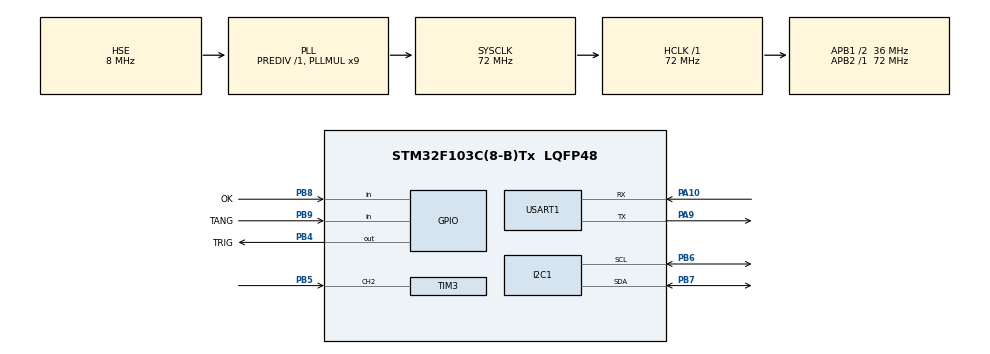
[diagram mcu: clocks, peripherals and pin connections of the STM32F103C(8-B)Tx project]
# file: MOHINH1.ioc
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Mcu.Family=STM32F1
Mcu.Name=STM32F103C(8-B)Tx
Mcu.Package=LQFP48
NVIC.PriorityGroup=NVIC_PRIORITYGROUP_4
NVIC.TIM2_IRQn=true\:0\:0\:false\:false\:true\:true\:true\:true
NVIC.TIM3_IRQn=true\:0\:0\:false\:false\:true\:true\:true\:true
NVIC.USART1_IRQn=true\:0\:0\:false\:false\:true\:true\:true\:true
PA10.Mode=Asynchronous
PA10.Signal=USART1_RX
PA13.Mode=Serial_Wire
PA13.Signal=SYS_JTMS-SWDIO
PA14.Mode=Serial_Wire
PA14.Signal=SYS_JTCK-SWCLK
PA9.Mode=Asynchronous
PA9.Signal=USART1_TX
PB4.GPIO_Label=TRIG
PB4.Signal=GPIO_Output
PB5.Signal=S_TIM3_CH2
PB6.Mode=I2C
PB6.Signal=I2C1_SCL
PB7.Mode=I2C
PB7.Signal=I2C1_SDA
PB8.GPIO_Label=OK
PB8.Signal=GPIO_Input
PB9.GPIO_Label=TANG
PB9.Signal=GPIO_Input
PD0-OSC_IN.Mode=HSE-External-Oscillator
PD0-OSC_IN.Signal=RCC_OSC_IN
PD1-OSC_OUT.Mode=HSE-External-Oscillator
PD1-OSC_OUT.Signal=RCC_OSC_OUT
ProjectManager.HeapSize=0x200
ProjectManager.StackSize=0x400
ProjectManager.TargetToolchain=MDK-ARM V5.32
RCC.AHBFreq_Value=72000000
RCC.APB1CLKDivider=RCC_HCLK_DIV2
RCC.APB1Freq_Value=36000000
RCC.APB1TimFreq_Value=72000000
RCC.APB2Freq_Value=72000000
RCC.APB2TimFreq_Value=72000000
RCC.HCLKFreq_Value=72000000
RCC.PLLMUL=RCC_PLL_MUL9
RCC.PLLSourceVirtual=RCC_PLLSOURCE_HSE
RCC.SYSCLKFreq_VALUE=72000000
RCC.SYSCLKSource=RCC_SYSCLKSOURCE_PLLCLK
RCC.USBFreq_Value=72000000
SH.S_TIM3_CH2.0=TIM3_CH2,Input_Capture2_from_TI2
TIM1.Prescaler=71
TIM2.Period=9
TIM2.Prescaler=7199
TIM3.Channel-Input_Capture2_from_TI2=TIM_CHANNEL_2
TIM3.Prescaler=71
TIM4.Prescaler=71
USART1.VirtualMode=VM_ASYNC
VP_TIM1_VS_ClockSourceINT.Mode=Internal
VP_TIM2_VS_ClockSourceINT.Mode=Internal
VP_TIM3_VS_ClockSourceINT.Mode=Internal
VP_TIM4_VS_ClockSourceINT.Mode=Internal
board=custom

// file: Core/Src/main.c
/* USER CODE BEGIN Header */
/**
  ******************************************************************************
  * @file           : main.c
  * @brief          : Main program body
  ******************************************************************************
  * @attention
  *
  * Copyright (c) 2025 STMicroelectronics.
  * All rights reserved.
  *
  * This software is licensed under terms that can be found in the LICENSE file
  * in the root directory of this software component.
  * If no LICENSE file comes with this software, it is provided AS-IS.
  *
  ******************************************************************************
  */
/* USER CODE END Header */
#include "main.h"

/* USER CODE BEGIN Includes */
#include "CLCD_I2C.h"
#include "stdio.h"
#include "string.h"
#include <stdlib.h>
#include <DS3231.h>
#include "ser_timer.h"
/* USER CODE END Includes */

I2C_HandleTypeDef hi2c1;

TIM_HandleTypeDef htim1;
TIM_HandleTypeDef htim2;
TIM_HandleTypeDef htim3;
TIM_HandleTypeDef htim4;

UART_HandleTypeDef huart1;

/* USER CODE BEGIN PV */
int pulse_duration =0;
int KCDO = 0;
CLCD_I2C_Name LCD1;
char text1[30];
char text2[30];
char text3[30];
char text4[30];
uint32_t ic_val1 = 0;
uint32_t ic_val2 = 0;
uint32_t difference = 0;
uint8_t is_captured = 0;
uint8_t distance = 0;
uint8_t IndexBuff = 0;
char IndexData[50];
unsigned short Flag = 0;
uint16_t timesend = 100;
DS3231_Name DS3231;
uint8_t mode = 0;
uint16_t demtimegui=0;
/* USER CODE END PV */

void SystemClock_Config(void);
static void MX_GPIO_Init(void);
static void MX_I2C1_Init(void);
static void MX_USART1_UART_Init(void);
static void MX_TIM1_Init(void);
static void MX_TIM4_Init(void);
static void MX_TIM3_Init(void);
static void MX_TIM2_Init(void);

/* USER CODE BEGIN 0 */
void Delay_us(uint16_t time)
{
    __HAL_TIM_SET_COUNTER(&htim1, 0);
    while (__HAL_TIM_GET_COUNTER(&htim1) < time) {}
}
void HAL_UART_RxCpltCallback(UART_HandleTypeDef *huart)
{
	if(huart -> Instance == USART1)
	{
		if(IndexData[IndexBuff] != 'K') /*/!,,,, 0x0A = \n*/
		{
			IndexBuff++;
		}
		else
		{
			Flag = 1;
			IndexBuff = 0;
		}
		HAL_UART_Receive_IT(&huart1, (uint8_t*)&IndexData[IndexBuff], 1);
	}
}

void senTRIG()
{
	HAL_GPIO_WritePin(TRIG_GPIO_Port,TRIG_Pin,GPIO_PIN_SET);
	Delay_us(1);
	HAL_GPIO_WritePin(TRIG_GPIO_Port,TRIG_Pin,GPIO_PIN_RESET);
}

void HAL_TIM_IC_CaptureCallback(TIM_HandleTypeDef *htim) {
    if (htim->Instance == htim3.Instance) {
        if (is_captured == 0) {
            ic_val1 = HAL_TIM_ReadCapturedValue(htim, TIM_CHANNEL_2);
            __HAL_TIM_SET_CAPTUREPOLARITY(htim, TIM_CHANNEL_2, TIM_INPUTCHANNELPOLARITY_FALLING);
            is_captured = 1;
        } else if (is_captured == 1) {
            ic_val2 = HAL_TIM_ReadCapturedValue(htim, TIM_CHANNEL_2);
            __HAL_TIM_SET_CAPTUREPOLARITY(htim, TIM_CHANNEL_2, TIM_INPUTCHANNELPOLARITY_RISING);
            is_captured = 0;
            if (ic_val2 > ic_val1) {
                difference = ic_val2 - ic_val1;
            } else {
                difference = (0xFFFF - ic_val1) + ic_val2;
            }
        }
		HAL_TIM_IC_Start_IT(&htim3, TIM_CHANNEL_2);
    }
}

uint8_t Read_HCR05()
{
	senTRIG();
	return distance = (difference * 0.0343) / 2;
}

void TINHTOAN(uint8_t Flag)
{
    if(Flag)
    {
        if(IndexData[0] == 'T')
        {
            timesend = atoi(IndexData + 1);
        }
        Flag = 0;
    }
}
void Xlnutan(PVOID pData) //ps2
{
	if(HAL_GPIO_ReadPin(OK_GPIO_Port,OK_Pin) == 1)
	{
		mode = 0;
		CLCD_I2C_Clear(&LCD1);
	}
	else if(HAL_GPIO_ReadPin(TANG_GPIO_Port,TANG_Pin) == 1)
	{
		mode = 1;
		CLCD_I2C_Clear(&LCD1);
	}
	StartShortTimer(100, Xlnutan, NULL);
}

void Xldulieu(PVOID pData) //ps2
{
	TINHTOAN(Flag);
	sprintf(text1,"Kc do:%d  ",KCDO);
	sprintf(text2,"khoang cach:%d\r\n",KCDO);
	sprintf(text3,"TIME:%d:%d:%d  ",DS3231.Hour,DS3231.Min,DS3231.Sec);
	StartShortTimer(100, Xldulieu, NULL);
}
void Docsieuam(PVOID pData)
{
	KCDO = Read_HCR05();
	StartShortTimer(100, Docsieuam, NULL);
}

void Docthoigian(PVOID pData)
{
	DS3231_GetTime(&DS3231);
	StartShortTimer(100, Docthoigian, NULL);
}

void Guimaytinh(PVOID pData)
{
	demtimegui++;
	if(demtimegui > timesend)
	{
		demtimegui = 0;
		HAL_UART_Transmit_IT(&huart1,(uint8_t*)text2,strlen(text2));
	}
	StartShortTimer(1, Guimaytinh, NULL);
}

void Hienthilcd(PVOID pData)
{
	if(mode == 0)
	{
		CLCD_I2C_SetCursor(&LCD1, 0, 0);
		CLCD_I2C_WriteString(&LCD1,"CHE DO 1");
		CLCD_I2C_SetCursor(&LCD1, 0, 1);
		CLCD_I2C_WriteString(&LCD1,text1);
	}
	else if(mode == 1)
	{
		CLCD_I2C_SetCursor(&LCD1, 0, 0);
		CLCD_I2C_WriteString(&LCD1,"CHE DO 2");
		CLCD_I2C_SetCursor(&LCD1, 0, 1);
		CLCD_I2C_WriteString(&LCD1,text3);
	}
	StartShortTimer(100, Hienthilcd, NULL);
}
/* USER CODE END 0 */

int main(void)
{

  /* MCU Configuration--------------------------------------------------------*/

  /* Reset of all peripherals, Initializes the Flash interface and the Systick. */
  HAL_Init();

  /* Configure the system clock */
  SystemClock_Config();

  /* Initialize all configured peripherals */
  MX_GPIO_Init();
  MX_I2C1_Init();
  MX_USART1_UART_Init();
  MX_TIM1_Init();
  MX_TIM4_Init();
  MX_TIM3_Init();
  MX_TIM2_Init();
  /* USER CODE BEGIN 2 */
	HAL_UART_Receive_IT(&huart1, (uint8_t*)&IndexData[IndexBuff], 1);
	HAL_TIM_IC_Start_IT(&htim3, TIM_CHANNEL_2);
	HAL_TIM_Base_Start(&htim1);
	HAL_TIM_Base_Start_IT(&htim2);
	CLCD_I2C_Init(&LCD1,&hi2c1,0x4e,16,02,&htim4);
	DS3231_Init(&DS3231, &hi2c1);
	Hienthilcd(NULL);
	Guimaytinh(NULL);
	Docthoigian(NULL);
	Docsieuam(NULL);
	Xldulieu(NULL);
	Xlnutan(NULL);
  /* USER CODE END 2 */

  /* Infinite loop */
  while (1)
  {

    /* USER CODE BEGIN 3 */
		ProcessTimerEvents();
  }
  /* USER CODE END 3 */
}

void SystemClock_Config(void)
{
  RCC_OscInitTypeDef RCC_OscInitStruct = {0};
  RCC_ClkInitTypeDef RCC_ClkInitStruct = {0};

  /** Initializes the RCC Oscillators according to the specified parameters
  * in the RCC_OscInitTypeDef structure.
  */
  RCC_OscInitStruct.OscillatorType = RCC_OSCILLATORTYPE_HSE;
  RCC_OscInitStruct.HSEState = RCC_HSE_ON;
  RCC_OscInitStruct.HSEPredivValue = RCC_HSE_PREDIV_DIV1;
  RCC_OscInitStruct.HSIState = RCC_HSI_ON;
  RCC_OscInitStruct.PLL.PLLState = RCC_PLL_ON;
  RCC_OscInitStruct.PLL.PLLSource = RCC_PLLSOURCE_HSE;
  RCC_OscInitStruct.PLL.PLLMUL = RCC_PLL_MUL9;
  if (HAL_RCC_OscConfig(&RCC_OscInitStruct) != HAL_OK)
  {
    Error_Handler();
  }

  /** Initializes the CPU, AHB and APB buses clocks
  */
  RCC_ClkInitStruct.ClockType = RCC_CLOCKTYPE_HCLK|RCC_CLOCKTYPE_SYSCLK
                              |RCC_CLOCKTYPE_PCLK1|RCC_CLOCKTYPE_PCLK2;
  RCC_ClkInitStruct.SYSCLKSource = RCC_SYSCLKSOURCE_PLLCLK;
  RCC_ClkInitStruct.AHBCLKDivider = RCC_SYSCLK_DIV1;
  RCC_ClkInitStruct.APB1CLKDivider = RCC_HCLK_DIV2;
  RCC_ClkInitStruct.APB2CLKDivider = RCC_HCLK_DIV1;

  if (HAL_RCC_ClockConfig(&RCC_ClkInitStruct, FLASH_LATENCY_2) != HAL_OK)
  {
    Error_Handler();
  }
}

static void MX_I2C1_Init(void)
{

  hi2c1.Instance = I2C1;
  hi2c1.Init.ClockSpeed = 100000;
  hi2c1.Init.DutyCycle = I2C_DUTYCYCLE_2;
  hi2c1.Init.OwnAddress1 = 0;
  hi2c1.Init.AddressingMode = I2C_ADDRESSINGMODE_7BIT;
  hi2c1.Init.DualAddressMode = I2C_DUALADDRESS_DISABLE;
  hi2c1.Init.OwnAddress2 = 0;
  hi2c1.Init.GeneralCallMode = I2C_GENERALCALL_DISABLE;
  hi2c1.Init.NoStretchMode = I2C_NOSTRETCH_DISABLE;
  if (HAL_I2C_Init(&hi2c1) != HAL_OK)
  {
    Error_Handler();
  }

}

static void MX_TIM1_Init(void)
{

  TIM_ClockConfigTypeDef sClockSourceConfig = {0};
  TIM_MasterConfigTypeDef sMasterConfig = {0};

  htim1.Instance = TIM1;
  htim1.Init.Prescaler = 71;
  htim1.Init.CounterMode = TIM_COUNTERMODE_UP;
  htim1.Init.Period = 65535;
  htim1.Init.ClockDivision = TIM_CLOCKDIVISION_DIV1;
  htim1.Init.RepetitionCounter = 0;
  htim1.Init.AutoReloadPreload = TIM_AUTORELOAD_PRELOAD_DISABLE;
  if (HAL_TIM_Base_Init(&htim1) != HAL_OK)
  {
    Error_Handler();
  }
  sClockSourceConfig.ClockSource = TIM_CLOCKSOURCE_INTERNAL;
  if (HAL_TIM_ConfigClockSource(&htim1, &sClockSourceConfig) != HAL_OK)
  {
    Error_Handler();
  }
  sMasterConfig.MasterOutputTrigger = TIM_TRGO_RESET;
  sMasterConfig.MasterSlaveMode = TIM_MASTERSLAVEMODE_DISABLE;
  if (HAL_TIMEx_MasterConfigSynchronization(&htim1, &sMasterConfig) != HAL_OK)
  {
    Error_Handler();
  }

}

static void MX_TIM2_Init(void)
{

  TIM_ClockConfigTypeDef sClockSourceConfig = {0};
  TIM_MasterConfigTypeDef sMasterConfig = {0};

  htim2.Instance = TIM2;
  htim2.Init.Prescaler = 7199;
  htim2.Init.CounterMode = TIM_COUNTERMODE_UP;
  htim2.Init.Period = 9;
  htim2.Init.ClockDivision = TIM_CLOCKDIVISION_DIV1;
  htim2.Init.AutoReloadPreload = TIM_AUTORELOAD_PRELOAD_DISABLE;
  if (HAL_TIM_Base_Init(&htim2) != HAL_OK)
  {
    Error_Handler();
  }
  sClockSourceConfig.ClockSource = TIM_CLOCKSOURCE_INTERNAL;
  if (HAL_TIM_ConfigClockSource(&htim2, &sClockSourceConfig) != HAL_OK)
  {
    Error_Handler();
  }
  sMasterConfig.MasterOutputTrigger = TIM_TRGO_RESET;
  sMasterConfig.MasterSlaveMode = TIM_MASTERSLAVEMODE_DISABLE;
  if (HAL_TIMEx_MasterConfigSynchronization(&htim2, &sMasterConfig) != HAL_OK)
  {
    Error_Handler();
  }

}

static void MX_TIM3_Init(void)
{

  TIM_ClockConfigTypeDef sClockSourceConfig = {0};
  TIM_MasterConfigTypeDef sMasterConfig = {0};
  TIM_IC_InitTypeDef sConfigIC = {0};

  htim3.Instance = TIM3;
  htim3.Init.Prescaler = 71;
  htim3.Init.CounterMode = TIM_COUNTERMODE_UP;
  htim3.Init.Period = 65535;
  htim3.Init.ClockDivision = TIM_CLOCKDIVISION_DIV1;
  htim3.Init.AutoReloadPreload = TIM_AUTORELOAD_PRELOAD_DISABLE;
  if (HAL_TIM_Base_Init(&htim3) != HAL_OK)
  {
    Error_Handler();
  }
  sClockSourceConfig.ClockSource = TIM_CLOCKSOURCE_INTERNAL;
  if (HAL_TIM_ConfigClockSource(&htim3, &sClockSourceConfig) != HAL_OK)
  {
    Error_Handler();
  }
  if (HAL_TIM_IC_Init(&htim3) != HAL_OK)
  {
    Error_Handler();
  }
  sMasterConfig.MasterOutputTrigger = TIM_TRGO_RESET;
  sMasterConfig.MasterSlaveMode = TIM_MASTERSLAVEMODE_DISABLE;
  if (HAL_TIMEx_MasterConfigSynchronization(&htim3, &sMasterConfig) != HAL_OK)
  {
    Error_Handler();
  }
  sConfigIC.ICPolarity = TIM_INPUTCHANNELPOLARITY_RISING;
  sConfigIC.ICSelection = TIM_ICSELECTION_DIRECTTI;
  sConfigIC.ICPrescaler = TIM_ICPSC_DIV1;
  sConfigIC.ICFilter = 0;
  if (HAL_TIM_IC_ConfigChannel(&htim3, &sConfigIC, TIM_CHANNEL_2) != HAL_OK)
  {
    Error_Handler();
  }

}

static void MX_TIM4_Init(void)
{

  TIM_ClockConfigTypeDef sClockSourceConfig = {0};
  TIM_MasterConfigTypeDef sMasterConfig = {0};

  htim4.Instance = TIM4;
  htim4.Init.Prescaler = 71;
  htim4.Init.CounterMode = TIM_COUNTERMODE_UP;
  htim4.Init.Period = 65535;
  htim4.Init.ClockDivision = TIM_CLOCKDIVISION_DIV1;
  htim4.Init.AutoReloadPreload = TIM_AUTORELOAD_PRELOAD_DISABLE;
  if (HAL_TIM_Base_Init(&htim4) != HAL_OK)
  {
    Error_Handler();
  }
  sClockSourceConfig.ClockSource = TIM_CLOCKSOURCE_INTERNAL;
  if (HAL_TIM_ConfigClockSource(&htim4, &sClockSourceConfig) != HAL_OK)
  {
    Error_Handler();
  }
  sMasterConfig.MasterOutputTrigger = TIM_TRGO_RESET;
  sMasterConfig.MasterSlaveMode = TIM_MASTERSLAVEMODE_DISABLE;
  if (HAL_TIMEx_MasterConfigSynchronization(&htim4, &sMasterConfig) != HAL_OK)
  {
    Error_Handler();
  }

}

static void MX_USART1_UART_Init(void)
{

  huart1.Instance = USART1;
  huart1.Init.BaudRate = 115200;
  huart1.Init.WordLength = UART_WORDLENGTH_8B;
  huart1.Init.StopBits = UART_STOPBITS_1;
  huart1.Init.Parity = UART_PARITY_NONE;
  huart1.Init.Mode = UART_MODE_TX_RX;
  huart1.Init.HwFlowCtl = UART_HWCONTROL_NONE;
  huart1.Init.OverSampling = UART_OVERSAMPLING_16;
  if (HAL_UART_Init(&huart1) != HAL_OK)
  {
    Error_Handler();
  }

}

static void MX_GPIO_Init(void)
{
  GPIO_InitTypeDef GPIO_InitStruct = {0};

  /* GPIO Ports Clock Enable */
  __HAL_RCC_GPIOD_CLK_ENABLE();
  __HAL_RCC_GPIOA_CLK_ENABLE();
  __HAL_RCC_GPIOB_CLK_ENABLE();

  /*Configure GPIO pin Output Level */
  HAL_GPIO_WritePin(TRIG_GPIO_Port, TRIG_Pin, GPIO_PIN_RESET);

  /*Configure GPIO pin : TRIG_Pin */
  GPIO_InitStruct.Pin = TRIG_Pin;
  GPIO_InitStruct.Mode = GPIO_MODE_OUTPUT_PP;
  GPIO_InitStruct.Pull = GPIO_NOPULL;
  GPIO_InitStruct.Speed = GPIO_SPEED_FREQ_LOW;
  HAL_GPIO_Init(TRIG_GPIO_Port, &GPIO_InitStruct);

  /*Configure GPIO pins : OK_Pin TANG_Pin */
  GPIO_InitStruct.Pin = OK_Pin|TANG_Pin;
  GPIO_InitStruct.Mode = GPIO_MODE_INPUT;
  GPIO_InitStruct.Pull = GPIO_NOPULL;
  HAL_GPIO_Init(GPIOB, &GPIO_InitStruct);

}

void Error_Handler(void)
{
  __disable_irq();
  while (1)
  {
  }
}
